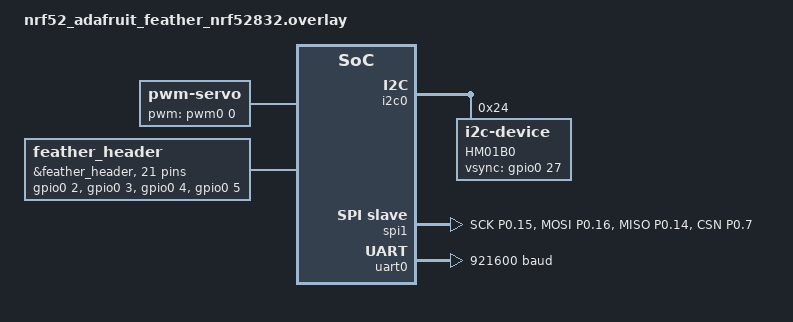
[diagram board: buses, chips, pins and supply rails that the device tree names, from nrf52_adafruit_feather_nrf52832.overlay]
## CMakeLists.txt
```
# SPDX-License-Identifier: Apache-2.0

cmake_minimum_required(VERSION 3.20.0)

find_package(Zephyr REQUIRED HINTS $ENV{ZEPHYR_BASE})
project(custom_target_3)

target_sources(app PRIVATE src/main.c)
target_sources(app PRIVATE src/ble_manager.c)
target_sources(app PRIVATE src/HM01B0/HM01B0_CLK.c)
```

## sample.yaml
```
# Copyright (c) 2018, Linaro Limited
# SPDX-License-Identifier: Apache-2.0
include: [i2c-device.yaml]

description: |
  This allows you to define a group of LEDs. Each LED in the group is
  controlled by a GPIO. Each LED is defined in a child node of the
  gpio-leds node.

  Here is an example which defines three LEDs in the node /leds:

  / {
  	leds {
  		compatible = "gpio-leds";
  		led_0 {
  			gpios = <&gpio0 1 GPIO_ACTIVE_LOW>;
  		};
  		led_1 {
  			gpios = <&gpio0 2 GPIO_ACTIVE_HIGH>;
  		};
  		led_2 {
  			gpios = <&gpio1 15 (GPIO_PULL_UP | GPIO_ACTIVE_LOW)>;
  		};
  	};
  };

  Above:

  - led_0 is pin 1 on gpio0. The LED is on when the pin is low,
    and off when the pin is high.
  - led_1 is pin 2 on gpio0. The LED is on when the pin is high,
    and off when it is low.
  - led_2 is pin 15 on gpio1. The LED is on when the pin is low,
    and the pin's internal pull-up resistor should be enabled.

compatible: "hm01b0-stuff"

child-binding:
  description: GPIO LED child node
  properties:
    gpios:
      type: phandle-array
      required: true
```

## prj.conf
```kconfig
CONFIG_I2C=y

CONFIG_GPIO=y

#CONFIG_LOG=n

CONFIG_SERIAL=y
CONFIG_UART_ASYNC_API=y
CONFIG_UART_CONSOLE=y
CONFIG_UART_INTERRUPT_DRIVEN=y
CONFIG_RING_BUFFER=y

CONFIG_SPI=y
# Enable SPI slave (SPIS) driver support
CONFIG_SPI_SLAVE=y
CONFIG_SPI_NRFX=y
CONFIG_NRFX_PPI=y
CONFIG_NRFX_GPIOTE0=y
CONFIG_NRFX_GPPI=y
# Use the nrfx SPIS driver instance
CONFIG_NRFX_SPIS1=y


#CONFIG_CORTEX_M_DEBUG_MONITOR_HOOK=y
#CONFIG_SEGGER_DEBUGMON=y

# Increase stack and heap to accommodate large image buffers
#CONFIG_MAIN_STACK_SIZE=4096
#CONFIG_IDLE_STACK_SIZE=1024
#CONFIG_SYSTEM_WORKQUEUE_STACK_SIZE=2048
#CONFIG_HEAP_MEM_POOL_SIZE=10240

CONFIG_LOG=y
CONFIG_USE_SEGGER_RTT=y
CONFIG_LOG_BACKEND_RTT=y

#CONFIG_PWM=y
CONFIG_DEVICE_MUTABLE=y

CONFIG_NRFX_TIMER3=y
#CONFIG_NRFX_TIMER0=y

CONFIG_LOG_DEFAULT_LEVEL=3

CONFIG_BT=y
CONFIG_BT_PERIPHERAL=y
CONFIG_BT_DEVICE_NAME="insect_cam"
CONFIG_BT_MAX_CONN=1


# HCI ACL buffers size
CONFIG_BT_BUF_ACL_RX_SIZE=251

# L2CAP SDU/PDU TX MTU
CONFIG_BT_L2CAP_TX_MTU=247
```

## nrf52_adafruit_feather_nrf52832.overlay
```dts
// To get started, press Ctrl+Space (or Option+Esc) to bring up the completion menu and view the available nodes.

// You can also use the buttons in the sidebar to perform actions on nodes.
// Actions currently available include:

// * Enabling / disabling the node
// * Adding the bus to a bus
// * Removing the node
// * Connecting ADC channels

// For more help, browse the DeviceTree documentation at https://docs.zephyrproject.org/latest/guides/dts/index.html
// You can also visit the nRF DeviceTree extension documentation at https://docs.nordicsemi.com/bundle/nrf-connect-vscode/page/guides/ncs_configure_app.html#devicetree-support-in-the-extension


/ {
	servo: servo {
		compatible = "pwm-servo";
		pwms = <&pwm0 0 PWM_NSEC(333) PWM_POLARITY_NORMAL>;
		min-pulse = <PWM_NSEC(100)>;
		max-pulse = <PWM_USEC(2500)>;
	};
};

&i2c0 {
    status = "okay";
    pinctrl-0 = <&i2c0_default>;
	pinctrl-1 = <&i2c0_sleep>;
    pinctrl-names = "default", "sleep";
    HM01B0: HM01B0@24{
        compatible = "i2c-device";
        status = "okay";
        reg = < 0x24 >;
        vsync-gpios = <&gpio0 27 0>;
        
    };
};



&spi0 {
    compatible = "nordic,nrf-spis"; 
    status = "disabled";
    pinctrl-0 = <&spi1_default>;
    pinctrl-1 = <&spi1_sleep>;
    pinctrl-names = "default", "sleep";
    def-char = <0>;
};
&i2c1 { status = "disabled";}; 
&spi1 {
 compatible = "nordic,nrf-spis";
 status = "okay";
 pinctrl-0 = <&spi1_default>;
 pinctrl-1 = <&spi1_sleep>;
 pinctrl-names = "default", "sleep";
 def-char = <0>;
 gendev: gendev@0 {
    compatible = "adi,adxl362";
    reg = <0>;
    spi-max-frequency = <36000000>;
};
};




&pwm0 {
	status = "disabled";
	pinctrl-0 = <&pwm0_custom>;
	pinctrl-1 = <&pwm0_csleep>;
	pinctrl-names = "default", "sleep";
   };

&pinctrl {
    spi1_default: spi1_default {
    group1 {
    psels = <NRF_PSEL(SPIS_SCK, 0, 15)>, 
    <NRF_PSEL(SPIS_MOSI, 0, 16)>,
    <NRF_PSEL(SPIS_MISO, 0, 14)>,
    <NRF_PSEL(SPIS_CSN,  0,7)>;
    };
};
    spi1_sleep: spi1_sleep {
    group1 {
    psels = <NRF_PSEL(SPIS_SCK, 0, 15)>,
    <NRF_PSEL(SPIS_MOSI, 0, 16)>,
    <NRF_PSEL(SPIS_MISO, 0, 14)>,
    <NRF_PSEL(SPIS_CSN,  0,7)>;
    low-power-enable;
    };
};

    pwm0_custom: pwm0_custom {
	group1 {
	psels = <NRF_PSEL(PWM_OUT0, 0, 3)>;
	nordic,invert;
	};
	};  pwm0_csleep: pwm0_csleep {
	group1 {
	psels = <NRF_PSEL(PWM_OUT0, 0, 3)>;
	low-power-enable;
	};
	};
};




&uart0 {
    compatible = "nordic,nrf-uarte";
    current-speed = <921600>;
};


/{
    aliases {
        hmm = &HM01B0;
    };
};



&feather_header {
    gpio-map = <0 0 &gpio0 2 0>,
               <1 0 &gpio0 3 0>,
               <2 0 &gpio0 4 0>,
               <3 0 &gpio0 5 0>,
               <4 0 &gpio0 28 0>,
               <5 0 &gpio0 29 0>,
               <6 0 &gpio0 12 0>,
               <7 0 &gpio0 13 0>,
               <8 0 &gpio0 14 0>,
               <9 0 &gpio0 8 0>,
               <10 0 &gpio0 6 0>,
               <11 0 &gpio0 20 0>,
               <12 0 &gpio0 25 0>,
               <13 0 &gpio0 26 0>,
               <14 0 &gpio0 27 0>,
               <15 0 &gpio0 30 0>,
               <16 0 &gpio0 31 0>,
               <17 0 &gpio0 11 0>,
               <18 0 &gpio0 7 0>,
               <19 0 &gpio0 15 0>,
               <20 0 &gpio0 16 0>;
};
```

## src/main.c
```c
/*
* HM01B0 capture example – interrupt driven, DMA-ready version
*
* Copyright (c) 2024 Open Pixel Systems
* SPDX-License-Identifier: Apache-2.0
*/




#include <zephyr/kernel.h>
#include <zephyr/device.h>
#include <zephyr/devicetree.h>
#include <zephyr/drivers/gpio.h>
#include <zephyr/drivers/i2c.h>
#include <zephyr/drivers/spi.h>
#include <zephyr/drivers/uart.h>
#include <zephyr/sys/printk.h>
#include <zephyr/sys/atomic.h>
#include <hal/nrf_power.h>
#include <hal/nrf_clock.h>

#include <hal/nrf_spis.h>
#include <nrfx_spis.h>
//#include <drivers/spi/spi_nrfx_spis.h>
#include <nrfx_gpiote.h>
#include <nrfx_ppi.h>
#include <helpers/nrfx_gppi.h>
//#include <zephyr/drivers/pwm.h>




#include "HM01B0/HM01B0_def_values.h"
#include "HM01B0/HM01B0Regs.h"
#include "HM01B0/HM01B0_CLK.h"




/* -------------------------------------------------------------------------- */
/* Global objects                                                             */
/* -------------------------------------------------------------------------- */
__aligned(4)  /* EasyDMA friendly */
static uint8_t image[IMAGE_SIZE];


/*  Compile-time test: linker may NOT move the buffer out of DMA RAM         */

extern void run_peripheral_step( uint16_t seconds, uint8_t *image);

static inline void hm_i2c_write(uint16_t reg, uint8_t val);

#define SPI_OP (SPI_WORD_SET(8) | SPI_OP_MODE_SLAVE | SPI_TRANSFER_MSB | SPI_MODE_CPOL | SPI_MODE_CPHA)

static struct spi_dt_spec spispec = SPI_DT_SPEC_GET(SPI_NODE, SPI_OP, 0);

//static const nrfx_spis_t spis = NRFX_SPIS_INSTANCE(1);



static const struct device *uart_dev   = DEVICE_DT_GET(UART_NODE);
static const struct i2c_dt_spec dev_i2c = I2C_DT_SPEC_GET(I2C_NODE);
static const struct device *gpio0_dev  = DEVICE_DT_GET(DT_NODELABEL(gpio0));


/* -------------------------------------------------------------------------- */
/* Synchronisation primitives                                                 */
/* -------------------------------------------------------------------------- */
static struct k_sem  frame_sem;          /* “frame is ready” semaphore       */
static struct k_sem  line_sem;           /* given by SPIS END callback       */
static struct k_work start_capture_work;


/* A dedicated work-queue thread is faster than the system work-queue         */
#define LINE_THREAD_STACK_SZ 768
K_THREAD_STACK_DEFINE(line_stack, LINE_THREAD_STACK_SZ);
static struct k_thread line_thread_data;


static atomic_t capturing;
static uint8_t *current_dst;

/* Forward declaration */
static void arm_next_spis_transfer(void);


static void start_capture_fn(struct k_work *work)
{
    ARG_UNUSED(work);
    k_sem_give(&line_sem);
}

/* -------------------------------------------------------------------------- */
/* Worker thread – captures one line per iteration                            */
/* -------------------------------------------------------------------------- */
static void line_thread(void *p1, void *p2, void *p3)
{
ARG_UNUSED(p1); ARG_UNUSED(p2); ARG_UNUSED(p3);

while (true) {
k_sem_take(&line_sem, K_FOREVER);     /* unblocked by SPIS END ISR   */

if (!atomic_get(&capturing)) {
continue;                         /* ignore stray events         */
}

/* Capture one line: wait for VSYNC event or previous DMA completion */
arm_next_spis_transfer();

/* Advance line index and write pointer for next line */
atomic_inc(&line_idx);
current_dst += IMG_WIDTH;

/* If we've captured the last line, end frame */
if (atomic_get(&line_idx) >= IMG_HEIGHT) {
    printk("Lineeee %3u", (unsigned)atomic_get(&line_idx) - 1);
atomic_clear(&capturing);
k_sem_give(&frame_sem);
}
}
}

/* Arms SPIS for the next 240-byte DMA reception                              */
static void arm_next_spis_transfer(void)
{
struct spi_buf rx  = { .buf = current_dst, .len = IMG_WIDTH};
struct spi_buf_set rxset = { .buffers = &rx, .count = 1 };

//nrfx_spis_buffers_set(&spispec, NULL, 0, current_dst, IMG_WIDTH);
spi_transceive((&spispec)->bus, &(&spispec)->config, NULL, &rxset);
//gpio_pin_configure(gpio0_dev, 28, GPIO_OUTPUT_ACTIVE);
//spi_read_dt(&spispec, &rxset);
//gpio_pin_configure(gpio0_dev, 28, GPIO_OUTPUT_INACTIVE);
/*
uint32_t got = rx.len;
if (got != 160) {               
    printk("Line %3u: got %3lu bytes\n", (unsigned)atomic_get(&line_idx) - 1, (unsigned long)got);
}
    */
k_sem_give(&line_sem);
}



/* -------------------------------------------------------------------------- */
/* VSYNC ISR – starts a new frame                                             */
/* -------------------------------------------------------------------------- */
static struct gpio_callback vsync_cb;

static void vsync_isr(const struct device *dev,
    struct gpio_callback *cb,
    uint32_t pins)
    {
    if (gpio_pin_get(dev, PIN_VSYNC)) {          /* rising edge = frame start */
    atomic_set(&capturing, 1);
    atomic_set(&line_idx, 0);
    current_dst = image;
    
    
    k_sem_reset(&line_sem);                  /* flush stale grants        */
    /* Wake the line-capture thread so that it can start the very first
            * DMA transaction from thread context. Doing it here (ISR) would
            * violate Zephyr's rules because spi_read_dt() might sleep.        */
    //k_sem_give(&line_sem);
    k_work_submit(&start_capture_work);
    }
}

/* -------------------------------------------------------------------------- */
/* HM01B0 helper (unchanged)                                                   */
/* -------------------------------------------------------------------------- */
static inline void hm_i2c_write(uint16_t reg, uint8_t val)
{
uint8_t buf[] = { reg >> 8, reg & 0xff, val };
i2c_write_dt(&dev_i2c, buf, sizeof buf);
}

/* … init_cam() is identical to your original code …                         */

/* -------------------------------------------------------------------------- */
/* UART helper (unchanged)                                                    */
/* -------------------------------------------------------------------------- */

static void send_frame_over_uart_binary(void)
{
static const char hdr[]  = "<FRAME>\n";
static const char tail[] = "</FRAME>\n";

for (int i = 0; i < sizeof hdr - 1; i++)  uart_poll_out(uart_dev, hdr[i]);
for (size_t i = 0; i < IMAGE_SIZE; i++)
{
    if(i%IMG_WIDTH == 0 || i%IMG_WIDTH-1 == 0) {
        continue; /* skip first and last byte of each line */
    }
    uart_poll_out(uart_dev, image[i]);
}   
for (int i = 0; i < sizeof tail - 1; i++) uart_poll_out(uart_dev, tail[i]);
}

/* -------------------------------------------------------------------------- */
/* main                                                                       */
/* -------------------------------------------------------------------------- */
void init_cam(void)
{



    hm_i2c_write( REG_MODE_SELECT, 0x00);//go to stand by mode
    //hm_i2c_write( REG_ANA_REGISTER_17, 0x00);//register to change the clk source(osc:1 mclk:0), if no mclk it goes to osc by default
    hm_i2c_write( REG_TEST_PATTERN_MODE, 0x00);//Enable the test pattern, set it to walking 1
    //hm_i2c_write(0x0101 , 0x03);
    
    hm_i2c_write( REG_BIN_MODE, 0x03);//VERTICAL BIN MODE
    hm_i2c_write( REG_QVGA_WIN_EN, 0x01);//Set line length LSB to QQVGA => enabled: makes the image 160(row)*240(col)
//    disable: image 160*320 //In test pattern mode, enabling this does not have any effect

    /*looking at lattice cfg setting*/
    //hm_i2c_write(0x0103,0x00);

    //100*100 optimization
    hm_i2c_write( REG_BIN_RDOUT_X, 0x03);//Horizontal Binning enable
    hm_i2c_write( REG_BIN_RDOUT_Y, 0x03);//vertical Binning enable => this register should be always 0x03 because we never go more than 160 for the height
        //frame timing control
    hm_i2c_write(REG_FRAME_LENGTH_PCK_H,0x00);
    hm_i2c_write(REG_FRAME_LENGTH_PCK_L,0xD7);//changed by Ali

    hm_i2c_write(REG_FRAME_LENGTH_LINES_H,0x00);//changed by Ali
    hm_i2c_write(REG_FRAME_LENGTH_LINES_L,0x80);//changed by Ali   

    /*looking at lattice cfg setting*/
    //hm_i2c_write(0x0103,0x00);
    hm_i2c_write(0x0104 ,0x01);
    /*
    hm_i2c_write(0x3044,0x0A);
    hm_i2c_write(0x3045,0x00);
    hm_i2c_write(0x3047,0x0A);
    hm_i2c_write(0x3050,0xC0);
    hm_i2c_write(0x3051,0x42);
//    hm_i2c_write(0x3052,0x50);
    hm_i2c_write(0x3053,0x00);
    hm_i2c_write(0x3054,0x03);
    hm_i2c_write(0x3055,0xF7);
    hm_i2c_write(0x3056,0xF8);
    hm_i2c_write(0x3057,0x29);
    hm_i2c_write(0x3058,0x1F);
//    hm_i2c_write(0x3059,0x1E);//bit control
    hm_i2c_write(0x3064,0x00);
    hm_i2c_write(0x3065,0x04);

    //black level control
    hm_i2c_write(0x1000,0x43);
    hm_i2c_write(0x1001,0x40);
    hm_i2c_write(0x1002,0x32);
    hm_i2c_write(0x1003,0x08);//default from lattice 0x08
    hm_i2c_write(0x1006,0x01);
    hm_i2c_write(0x1007,0x08);//default from lattice 0x08

    hm_i2c_write(0x0350,0x7F);
    

    //Sensor reserved
    hm_i2c_write(0x1008,0x00);
    hm_i2c_write(0x1009,0xA0);
    hm_i2c_write(0x100A,0x60);
    hm_i2c_write(0x100B,0x90);//default from lattice 0x90
    hm_i2c_write(0x100C,0x40);//default from lattice 0x40

    //Vsync, hsync and pixel shift register
//    hm_i2c_write(0x1012,0x07);//changed by Ali
    hm_i2c_write(0x1012,0x00);//lattice value

    //Statistic control and read only
    hm_i2c_write(0x2000,0x07);
    hm_i2c_write(0x2003,0x00);
    hm_i2c_write(0x2004,0x1C);
    hm_i2c_write(0x2007,0x00);
    hm_i2c_write(0x2008,0x58);
    hm_i2c_write(0x200B,0x00);
    hm_i2c_write(0x200C,0x7A);
    hm_i2c_write(0x200F,0x00);
    hm_i2c_write(0x2010,0xB8);
    hm_i2c_write(0x2013,0x00);
    hm_i2c_write(0x2014,0x58);
    hm_i2c_write(0x2017,0x00);
    hm_i2c_write(0x2018,0x9B);

    //Automatic exposure gain control
    
    hm_i2c_write(0x2101,0x70);//0x70);//lattice 0xA0
    hm_i2c_write(0x2102,0x06);//lattice 0x06
    hm_i2c_write(0x2104,0x07);
    hm_i2c_write(0x2105,0x03);
    hm_i2c_write(0x2106,0xA4);
    hm_i2c_write(0x2108,0x33);
    hm_i2c_write(0x210A,0x00);
    //hm_i2c_write(0x210C,0x04);
    hm_i2c_write(0x210B,0x80);
    hm_i2c_write(0x210F,0x00);
    hm_i2c_write(0x2110,0xE9);
    hm_i2c_write(0x2111,0x01);
    hm_i2c_write(0x2112,0x17);
    hm_i2c_write(0x2150,0x03);
*/
    //Sensor exposure gain
    hm_i2c_write(0x0205,0x00);//Vikram
    hm_i2c_write(0x020E,0x01);//Vikram
    hm_i2c_write(0x020F,0x00);//Vikram
    hm_i2c_write(0x0202,0x00);//Vikram
    hm_i2c_write(0x0203,0x30);//Vikram
    hm_i2c_write(0x2100,0x01);
    //frame timing control
//    hm_i2c_write(0x0340,0x02);//changed by Ali
//    hm_i2c_write(0x0341,0x32);//changed by Ali    
////    hm_i2c_write(0x0340,0x0C);
////    hm_i2c_write(0x0341,0x5C);
//
//    hm_i2c_write(0x0342,0x01);
//    hm_i2c_write(0x0343,0x78);//changed by Ali
//    hm_i2c_write(0x0343,0x78);

//    hm_i2c_write(0x3010,0x01); //done in lower lines
//    hm_i2c_write(0x0383,0x00); //done in lower lines
//    hm_i2c_write(0x0387,0x00); //done in lower lines
//    hm_i2c_write(0x0390,0x00); //done in lower lines
//    hm_i2c_write(0x3059,0x42); //done in lower lines
//    hm_i2c_write(0x3060,0x51); //done in lower lines
        //hm_i2c_write( REG_OSC_CLK_DIV, 0x30);//This is effective when we use external clk, Use the camera in the gated clock mode to make the clock zero when there is no data

        hm_i2c_write( REG_BIT_CONTROL, 0x20);//Set the output to send 1 bit serial
        //hm_i2c_write(0x3062, 0xFF);
        //hm_i2c_write(0x0202, 0x00);
        //hm_i2c_write(0x0203, 0x08);
        //hm_i2c_write(0x2101, 0x06);
        //hm_i2c_write(0x2105, 0x01);
        hm_i2c_write(0x3060, 0x30);
        hm_i2c_write(0x1012, 0x03);
        //hm_i2c_write(0x3023, 0x05);
        //hm_i2c_write(0x0101 , 0x02);

        //hm_i2c_write( REG_PMU_PROGRAMMABLE_FRAMECNT, 0x01);//set the number of frames to be sent out, it sends N frames
        

        //hm_clk_enable(true);
}

/* -------------------------------------------------------------------------- */
/* Scope‑pin helper – toggles P0.17 on every SPIS1 EVENTS_END via PPI         */
/* -------------------------------------------------------------------------- */
static void scope_pin_init(void)
{
    /* 1) P0.17 as output driven by GPIOTE task                                
    NRF_GPIO->DIRSET = 1UL << PIN_OUT;
    NRF_GPIOTE->CONFIG[GPIOTE_CH] = (GPIOTE_CONFIG_MODE_Task << GPIOTE_CONFIG_MODE_Pos) |
                                    (PIN_OUT                 << GPIOTE_CONFIG_PSEL_Pos) |
                                    (GPIOTE_CONFIG_POLARITY_Toggle << GPIOTE_CONFIG_POLARITY_Pos);


    NRF_PPI->CH[PPI_CH].EEP = (uint32_t)&NRF_SPIS1->EVENTS_END;
    NRF_PPI->CH[PPI_CH].TEP = (uint32_t)&NRF_GPIOTE->TASKS_OUT[GPIOTE_CH];


    NRF_PPI->CHENSET = 1UL << PPI_CH;
*/
    static nrf_ppi_channel_t ch;
    nrfx_gppi_channel_alloc(&ch);
    nrfx_gppi_event_endpoint_setup(ch, nrf_spis_event_address_get(NRF_SPIS1, NRF_SPIS_EVENT_END));
    nrfx_gppi_task_endpoint_setup(ch, nrf_gpiote_task_address_get(NRF_GPIOTE, NRF_GPIOTE_TASK_OUT_0 + GPIOTE_CH));
    nrfx_gppi_channels_enable(BIT(ch));
}


void gate_trigger_init(void)
{
    static nrf_ppi_channel_t ch;
    
        NRF_GPIO->PIN_CNF[PIN_GATE] =
            (GPIO_PIN_CNF_DIR_Input      << GPIO_PIN_CNF_DIR_Pos)  |
            (GPIO_PIN_CNF_INPUT_Connect  << GPIO_PIN_CNF_INPUT_Pos)|
            (GPIO_PIN_CNF_PULL_Pullup  << GPIO_PIN_CNF_PULL_Pos);

        NRF_GPIOTE->CONFIG[GPIOTE_CH_GATE] =
            (GPIOTE_CONFIG_MODE_Event     << GPIOTE_CONFIG_MODE_Pos) |
            (PIN_GATE                     << GPIOTE_CONFIG_PSEL_Pos) |
            (GPIOTE_CONFIG_POLARITY_HiToLo<< GPIOTE_CONFIG_POLARITY_Pos);

        /* 2) Route the event to SPIS1 TASKS_ACQUIRE 
        NRF_PPI->CH[PPI_CH_GATE].EEP = (uint32_t)&NRF_GPIOTE->EVENTS_IN[GPIOTE_CH_GATE];
        NRF_PPI->CH[PPI_CH_GATE].TEP = (uint32_t)&NRF_SPIS1->TASKS_ACQUIRE;


        NRF_PPI->CHENSET = 1UL << PPI_CH_GATE;
        
        */
    nrfx_gppi_channel_alloc(&ch);
    nrfx_gppi_event_endpoint_setup(ch, nrf_gpiote_event_address_get(NRF_GPIOTE, (nrf_gpiote_event_t)(NRF_GPIOTE_EVENT_IN_0 + GPIOTE_CH_GATE)));
    nrfx_gppi_task_endpoint_setup(ch,nrf_spis_task_address_get(NRF_SPIS1, NRF_SPIS_TASK_ACQUIRE));
        /* 4) Enable the channel */
    nrfx_gppi_channels_enable(BIT(ch));

}


/* -------------------------------------------------------------------------- */
/* Release helper – SPIS1 RELEASE fires when HSYNC (LVLD) falls               */
/* -------------------------------------------------------------------------- */
static void release_trigger_init(void)
{
    static nrf_ppi_channel_t ch;
    /* 1) Configure PIN_HSYNC as input (it already is) and generate an event on Hi→Lo */
    NRF_GPIO->PIN_CNF[PIN_HSYNC] =
          (GPIO_PIN_CNF_DIR_Input      << GPIO_PIN_CNF_DIR_Pos)  |
          (GPIO_PIN_CNF_INPUT_Connect  << GPIO_PIN_CNF_INPUT_Pos)|
          (GPIO_PIN_CNF_PULL_Pulldown  << GPIO_PIN_CNF_PULL_Pos);
    NRF_GPIOTE->CONFIG[GPIOTE_CH_HSYNC] =
          (GPIOTE_CONFIG_MODE_Event      << GPIOTE_CONFIG_MODE_Pos) |
          (PIN_HSYNC                      << GPIOTE_CONFIG_PSEL_Pos) |
          (GPIOTE_CONFIG_POLARITY_HiToLo  << GPIOTE_CONFIG_POLARITY_Pos);

    /* 2) Route the event to TASKS_RELEASE 
    NRF_PPI->CH[PPI_CH_REL].EEP = (uint32_t)&NRF_GPIOTE->EVENTS_IN[GPIOTE_CH_HSYNC];
    NRF_PPI->CH[PPI_CH_REL].TEP = (uint32_t)&NRF_SPIS1->TASKS_RELEASE;

 3) Enable PPI channel 
    NRF_PPI->CHENSET = 1UL << PPI_CH_REL; */
    nrfx_gppi_channel_alloc(&ch);
    nrfx_gppi_event_endpoint_setup(ch, nrf_gpiote_event_address_get(NRF_GPIOTE, (nrf_gpiote_event_t)(NRF_GPIOTE_EVENT_IN_0 + GPIOTE_CH_HSYNC)));
    nrfx_gppi_task_endpoint_setup(ch,nrf_spis_task_address_get(NRF_SPIS1, NRF_SPIS_TASK_ACQUIRE));
        /* 4) Enable the channel */
    nrfx_gppi_channels_enable(BIT(ch));

}






/* Now send_frame_over_uart_binary(); */

//static const struct pwm_dt_spec servo = PWM_DT_SPEC_GET(DT_NODELABEL(servo));

int main(void)
{
printk("hello");
//uint32_t pulse_width = 222;
//int ret = pwm_set_pulse_dt(&servo, pulse_width);
//ret = pwm_set_dt(&servo, 200, 200 / 2U);
//k_yield();
/* once at boot, right after spis init */
hm_clk_out();
k_msleep(100);


/* leave this on forever */
//spispec.config = spi_cfg_pwr1;
__ASSERT(((uintptr_t)image) >= DMA_RAM_START &&((uintptr_t)image + IMAGE_SIZE) <= DMA_RAM_END, "image[] must live in the first 64 kB of SRAM (EasyDMA)");
if (!device_is_ready(uart_dev)      ||
    !device_is_ready(dev_i2c.bus)   ||
    !device_is_ready(spispec.bus)   ||
    !device_is_ready(gpio0_dev)) {
    printk("Device not ready\n");
    return -ENODEV;
}
//printk("poop");

/* Keep the system in constant‑latency mode to avoid first‑byte corruption */
NRF_POWER->TASKS_CONSTLAT = 1;

/* Start the high‑frequency crystal so SPIS always samples with HFCLK */
NRF_CLOCK->TASKS_HFCLKSTART = 1;
while (NRF_CLOCK->EVENTS_HFCLKSTARTED == 0) {
}
NRF_CLOCK->EVENTS_HFCLKSTARTED = 0;

/* Enable END→ACQUIRE shortcut once the SPIS driver has been initialised */
/* Enable END→ACQUIRE shortcut once the SPIS driver has been initialised */
{
    NRF_SPIS_Type *spis =
        (NRF_SPIS_Type *)DT_REG_ADDR(DT_NODELABEL(spi1));  /* SPIS1 base */
    spis->SHORTS |= SPIS_SHORTS_END_ACQUIRE_Msk;
}

scope_pin_init();
gate_trigger_init();
release_trigger_init();
//test poop
/* Create semaphores after driver init so ISR may use them immediately    */
k_sem_init(&frame_sem, 0, 1);
k_sem_init(&line_sem,  0, 1);
k_work_init(&start_capture_work, start_capture_fn);

/* Spawn dedicated line-capture thread                                    */
k_thread_create(&line_thread_data, line_stack, LINE_THREAD_STACK_SZ,
                line_thread, NULL, NULL, NULL,
                K_PRIO_PREEMPT(0), 0, K_NO_WAIT);

init_cam();

/* --- VSYNC pin -------------------------------------------------------- */
gpio_pin_configure(gpio0_dev, PIN_VSYNC, GPIO_INPUT | GPIO_PULL_DOWN);
gpio_init_callback(&vsync_cb, vsync_isr, BIT(PIN_VSYNC));
gpio_add_callback(gpio0_dev, &vsync_cb);
gpio_pin_interrupt_configure(gpio0_dev, PIN_VSYNC, GPIO_INT_EDGE_RISING);
/* --- CSN pin -------------------------------------------------------- */
        uint8_t addr_readback[2];
        uint8_t val;

        /* BIT_CONTROL should read back 0x20 for 1-bit serial mode. */
        addr_readback[0] = 0x03; addr_readback[1] = 0x50;
        if (i2c_write_read_dt(&dev_i2c, addr_readback, 2, &val, 1) == 0)
            printk("QVGA win (0x0350) = 0x%02X\n", val);

        /* OSC_CLK_DIV should read back 0x00 (MSB-first, ÷8, non-gated). */
        addr_readback[0] = 0x03; addr_readback[1] = 0x81;
        if (i2c_write_read_dt(&dev_i2c, addr_readback, 2, &val, 1) == 0)
            printk("BIN_RDOUT_Y (0x0381) = 0x%02X\n", val);

        /* TEST_PATTERN_MODE – should be 0x00 (disabled) */
        addr_readback[0] = 0x10; addr_readback[1] = 0x06;
        if (i2c_write_read_dt(&dev_i2c, addr_readback, 2, &val, 1) == 0)
            printk("IMG_MODE_SEL (0x1006) = 0x%02X\n", val);
/* ------------------------- main loop ---------------------------------- */
//hm_i2c_write(REG_MODE_SELECT, 0x03);
//k_sem_take(&frame_sem, K_FOREVER);
//return -1;



while (true) {
hm_i2c_write(REG_MODE_SELECT, 0x03);
//gpio_add_callback(gpio0_dev, &vsync_cb);
//hm_i2c_write(REG_MODE_SELECT, 0x03);   /* start streaming  */
k_sem_take(&frame_sem, K_FOREVER);     /* wait for 1 frame */
//gpio_remove_callback(gpio0_dev, &vsync_cb);
//hm_i2c_write(REG_MODE_SELECT, 0x00);   /* standby          */
hm_i2c_write(REG_MODE_SELECT, 0x00);
run_peripheral_step(0, image);
//send_frame_over_uart_binary();
}
}
```

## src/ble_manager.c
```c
/*
 * Copyright (c) 2023 Nordic Semiconductor ASA
 *
 * SPDX-License-Identifier: Apache-2.0
 * 
 * Author: tekritesh@github.com
 */

#include <zephyr/bluetooth/gatt.h>
#include <zephyr/kernel.h>
#include <stddef.h>
#include <stdint.h>
#include <zephyr/sys/printk.h>

#include <zephyr/bluetooth/bluetooth.h>
#include <zephyr/bluetooth/conn.h>
#include <zephyr/bluetooth/uuid.h>
#include <zephyr/sys/util.h>
#include "HM01B0/HM01B0_def_values.h"
// #include <ble_manager.h>

#define BT_UUID_IMG_SERVICE_VAL \
    BT_UUID_128_ENCODE(0x6e400001, 0xb5a3, 0xf393, 0xe0a9, 0xe50e24dcca3e)
#define BT_UUID_IMG_RX_VAL \
    BT_UUID_128_ENCODE(0x6e400002, 0xb5a3, 0xf393, 0xe0a9, 0xe50e24dcca3e)
#define BT_UUID_IMG_TX_VAL \
    BT_UUID_128_ENCODE(0x6e400003, 0xb5a3, 0xf393, 0xe0a9, 0xe50e24dcca3e)
#define BT_UUID_IMG_INFO_VAL \
    BT_UUID_128_ENCODE(0x6e400004, 0xb5a3, 0xf393, 0xe0a9, 0xe50e24dcca3e)

/* Overhead: opcode (u8) + handle (u16) */
#define ATT_NTF_SIZE(payload_len) (1 + 2 + payload_len)

#define CHUNK_SIZE CONFIG_BT_L2CAP_TX_MTU




// BLE Characteristics
static const struct bt_uuid_128 insect_cam_service = BT_UUID_INIT_128(BT_UUID_IMG_SERVICE_VAL);

static const struct bt_uuid_128 tx_characteristic_uuid = BT_UUID_INIT_128(BT_UUID_IMG_TX_VAL);

static const struct bt_uuid_128 rx_characteristic_uuid = BT_UUID_INIT_128(BT_UUID_IMG_RX_VAL);

static const struct bt_uuid_128 img_info_characteristic_uuid = BT_UUID_INIT_128(BT_UUID_IMG_INFO_VAL);

static const struct bt_data adv_ad_data[] = {
	BT_DATA_BYTES(BT_DATA_FLAGS, (BT_LE_AD_GENERAL | BT_LE_AD_NO_BREDR)),
	BT_DATA_BYTES(BT_DATA_UUID128_ALL, BT_UUID_IMG_SERVICE_VAL),
	BT_DATA(BT_DATA_NAME_COMPLETE, CONFIG_BT_DEVICE_NAME, sizeof(CONFIG_BT_DEVICE_NAME) - 1),
};


// BLE Variables
static struct bt_conn *default_conn;
static struct k_sem conn_sem;
static struct k_work advertise_work;


//Defing dummy data buffer and stream specific variables

// static uint8_t data_to_send[1000];

uint16_t ble_mtu =0;
bool stream_en = false;



static ssize_t on_rx_received(struct bt_conn *conn,
                              const struct bt_gatt_attr *attr,
                              const void *buf,
                              uint16_t len,
                              uint16_t offset,
                              uint8_t flags);

static void send_large_data(struct bt_conn *conn, uint8_t *image);   

static const struct bt_gatt_attr *notify_attr_global = NULL;



void advertising_work_handler(struct k_work *work) {
	bt_le_adv_start(BT_LE_ADV_CONN_ONE_TIME, adv_ad_data, ARRAY_SIZE(adv_ad_data), NULL, 0);
}

static void ccc_cfg_changed(const struct bt_gatt_attr *attr, uint16_t value) {
    bool notif_enabled = (value == BT_GATT_CCC_NOTIFY);
    printk("Notifications %s\n", notif_enabled ? "enabled" : "disabled");

}
         
BT_GATT_SERVICE_DEFINE(
    insect_cam,
    BT_GATT_PRIMARY_SERVICE(&insect_cam_service),
    BT_GATT_CHARACTERISTIC(&tx_characteristic_uuid.uuid,(BT_GATT_CHRC_NOTIFY), (BT_GATT_PERM_NONE), NULL, NULL, NULL),
    BT_GATT_CCC(ccc_cfg_changed, BT_GATT_PERM_READ | BT_GATT_PERM_WRITE),
    BT_GATT_CHARACTERISTIC(&img_info_characteristic_uuid.uuid,(BT_GATT_CHRC_NOTIFY), (BT_GATT_PERM_NONE), NULL, NULL, NULL),
    BT_GATT_CCC(ccc_cfg_changed, BT_GATT_PERM_READ | BT_GATT_PERM_WRITE),
    BT_GATT_CHARACTERISTIC(&rx_characteristic_uuid.uuid,(BT_GATT_CHRC_WRITE_WITHOUT_RESP | BT_GATT_CHRC_WRITE), BT_GATT_PERM_WRITE, NULL, on_rx_received, NULL)
    );

static void send_large_data(struct bt_conn *conn, uint8_t *image) {
    if (!conn){
        printk("No active connection\n");
        return;
    }

    notify_attr_global = bt_gatt_find_by_uuid(insect_cam.attrs, 0xffff, &tx_characteristic_uuid.uuid);

    if (!notify_attr_global) {
        printk("Tx Notify attribute not found!\n");
        return;
    }
    
    uint16_t max_payload = ble_mtu - 3;  // ATT notification overhead

    // Filling in dummy data into the img buffer
    // f


    uint16_t offset = 0;
    while (offset < sizeof(image)) {
        uint16_t len = MIN(max_payload, sizeof(image) - offset);
        printk("Attempting to send pkt of size [%d] and first data [%d]",len,image[offset]);
        int err = bt_gatt_notify(conn, notify_attr_global, &image[offset], len);
        if (err) {
            printk("Notify failed: %d", err);
            // return;
        }
        printk("\n");

        offset += len;
        k_sleep(K_MSEC(1));  // Throttle to avoid flooding
    }

    printk("All chunks sent\n");
}


static ssize_t on_rx_received(struct bt_conn *conn,
                              const struct bt_gatt_attr *attr,
                              const void *buf,
                              uint16_t len,
                              uint16_t offset,
                              uint8_t flags) {
    printk("RX received %d bytes -->", len);

    const uint8_t *rx_data = buf;
    for (uint8_t i = 0; i< len; i++){
        printk("%x",rx_data[i]);
    }
    printk("\n");


    if (len == 1 && rx_data[0] == 2){
        printk("Enabling Stream..\n");
        stream_en = true;
        // send_large_data(conn);
    }

    if(len == 1 && rx_data[0] == 3){ 
        printk("Disabling Stream..\n");
        stream_en = false;

    }

    return len;
}



void mtu_updated(struct bt_conn *conn, uint16_t tx, uint16_t rx) {
	printk("Updated MTU: TX: %d RX: %d bytes\n", tx, rx);
}

static struct bt_gatt_cb gatt_callbacks = {
	.att_mtu_updated = mtu_updated,
};

static void connected(struct bt_conn *conn, uint8_t err) {
	if (err != 0) {
		return;
	}

	default_conn = bt_conn_ref(conn);
	k_sem_give(&conn_sem);
}

static void disconnected(struct bt_conn *conn, uint8_t reason) {
	bt_conn_unref(conn);
	default_conn = NULL;
	k_work_submit(&advertise_work);
}

BT_CONN_CB_DEFINE(conn_callbacks) = {
	.connected = connected,
	.disconnected = disconnected,
};

void run_peripheral_step( uint16_t seconds, uint8_t *image) {

    int err;

	err = bt_enable(NULL);
	if (err) {
		printk("Bluetooth init failed (err %d)\n", err);
		return;
	}

	k_sem_init(&conn_sem, 0, 1);
	bt_gatt_cb_register(&gatt_callbacks);

	k_work_init(&advertise_work, advertising_work_handler);

    
	bt_le_adv_start(BT_LE_ADV_CONN_ONE_TIME, adv_ad_data, ARRAY_SIZE(adv_ad_data), NULL, 0);
	

	bool infinite = seconds == 0;

    struct bt_gatt_attr *img_info_notify_attr_global = bt_gatt_find_by_uuid(insect_cam.attrs, 0xffff, &img_info_characteristic_uuid.uuid);

    if (!img_info_notify_attr_global) {
        printk("Img Info notify attribute not found!\n");
        return;
    }


	for (int i = 0; (i < seconds) || infinite; i++) {
		if (default_conn == NULL) {
			k_sem_take(&conn_sem, K_FOREVER);
		}

		k_sleep(K_MSEC(5));
		if (default_conn == NULL) {
			printk("Skipping notification since connection is not yet established\n");
		/* Only send the notification if the UATT MTU supports the required length */
		} else {
            uint16_t current_mtu = bt_gatt_get_uatt_mtu(default_conn);
            if (current_mtu != ble_mtu){
                ble_mtu = current_mtu;
                uint8_t img_info[4] = {100,(uint8_t)ble_mtu,100,0};
                int err = bt_gatt_notify(default_conn, img_info_notify_attr_global, &img_info, 4);
                if (err) {
                    printk("Img Information Notify failed: %d\n", err);
                }
                printk("MTU setting for Tx: %d!\n",ble_mtu);
            }

            if(stream_en){
                send_large_data(default_conn, image);
            }
            
            if (ble_mtu < CHUNK_SIZE) {

                printk("Skipping notification since UATT MTU is not sufficient."
			       "Required: %d, Actual: %d\n",
			       CHUNK_SIZE,
			       ble_mtu);
            }
		}
	}
}
```
